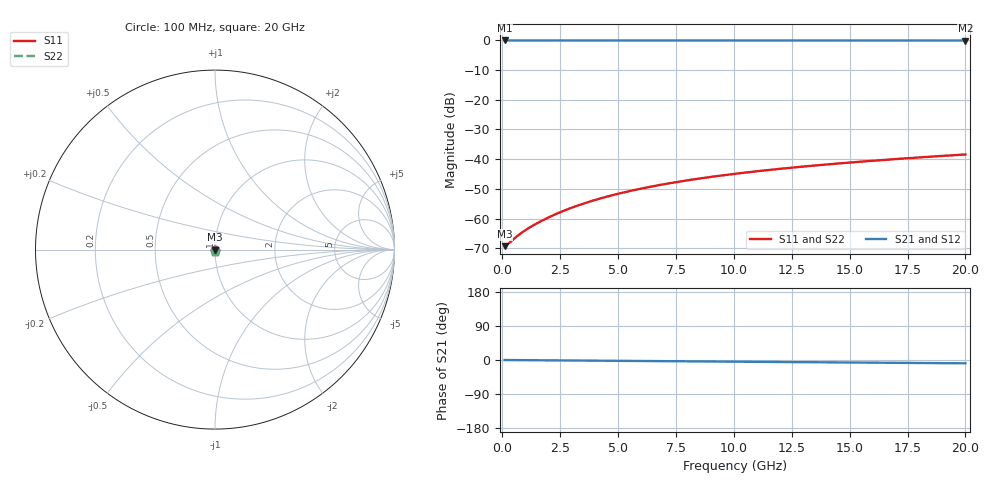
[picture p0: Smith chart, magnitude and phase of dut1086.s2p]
! Touchstone file exported from HFSS 2026.1.0
!  File:  C:/ffzhzh/LocalFiles/Ansys_Project_Files/temp_train_TSV_1086_1783190226_55132.aedt
!  Generated:  02:38:44 AM Jul  5, 2026
!  Design:  TSV
!  Project:  temp_train_TSV_1086_1783190226_55132
! Variables:
!  h_bsmrdl = 2um
!  h_ox = 20um
!  h_rdl = 5um
!  h_sub = 94.44um
!  h_tmrdl = 5um
!  h_tsv = 94.44um
!  h_via = 3um
!  l_bsmrdl = 300um
!  l_sub = 412.02um
!  l_tmrdl = 200um
!  m_sub = 200um
!  pitch = 22.81um
!  r_tsv = 6.01um
!  s_tmrdl = 10um
!  w_bsmrdl = 18um
!  w_sub = 500um
!  w_tmrdl = 12um
!  x_tsv_center1 = 206um
!  x_tsv_center2 = 524um
!  x_tsv_center3 = 736um
!  x_tsv_center4 = 1054um
!  x_tsv_center5 = 1266um
!  x_tsv_center6 = 1584um
# GHz S MA R 50.000000
! Terminal data exported
! Port[1] = TSV1_1_T1
! Port[2] = TSV1_1_T2
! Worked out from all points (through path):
!   200 points, 100 MHz to 20 GHz, reference 50 ohm
!   highest |S21| = 0.00 dB at 100 MHz (marker M1); lowest = 0.0 dB at 20 GHz (marker M2)
!   group delay of S21, straight-line fit = 1.21 ps
!   lowest |S11| = -69.3 dB at 100 MHz (marker M3), VSWR 1.00, Z = 50 + j0.000559 ohm
!   |S11| at or under -10 dB: start of sweep to end of sweep
!   |S22| runs from -69.3 to -38.4 dB; largest |S21 - S12| = 2e-15
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0.1  0.0003425 0.9  0.9997 -0.0  0.9997 -0.0  0.0003425 0.9
! Gamma 0 0 0 0
! Port Impedance 50 0 50 0
0.2  0.000361 1.0  0.9996 -0.1  0.9996 -0.1  0.000361 1.0
0.6  0.00049 -8.9  0.9995 -0.3  0.9995 -0.3  0.00049 -8.9
0.9  0.0005995 -19.5  0.9994 -0.4  0.9994 -0.4  0.0005995 -19.5
1.2  0.0007131 -28.6  0.9994 -0.5  0.9994 -0.5  0.0007131 -28.6
1.5  0.0008326 -35.8  0.9993 -0.7  0.9993 -0.7  0.0008326 -35.8
1.9  0.001002 -43.2  0.9993 -0.9  0.9993 -0.9  0.001002 -43.2
2.4  0.00123 -49.7  0.9992 -1.1  0.9992 -1.1  0.00123 -49.7
2.9  0.001473 -54.4  0.9991 -1.3  0.9991 -1.3  0.001473 -54.4
3.5  0.001782 -58.5  0.999 -1.6  0.999 -1.6  0.001782 -58.5
4.2  0.002161 -62.2  0.9989 -1.9  0.9989 -1.9  0.002161 -62.2
5  0.002613 -65.4  0.9988 -2.2  0.9988 -2.2  0.002613 -65.4
5.9  0.003139 -68.4  0.9987 -2.6  0.9987 -2.6  0.003139 -68.4
6.8  0.003677 -70.8  0.9986 -3.0  0.9986 -3.0  0.003677 -70.8
7.5  0.004102 -72.5  0.9985 -3.3  0.9985 -3.3  0.004102 -72.5
8.3  0.004591 -74.1  0.9985 -3.7  0.9985 -3.7  0.004591 -74.1
10.1  0.005702 -77.3  0.9983 -4.4  0.9983 -4.4  0.005702 -77.3
11.7  0.006698 -79.5  0.9982 -5.1  0.9982 -5.1  0.006698 -79.5
13.4  0.007764 -81.5  0.998 -5.9  0.998 -5.9  0.007764 -81.5
15  0.008775 -83.2  0.9979 -6.6  0.9979 -6.6  0.008775 -83.2
16.7  0.009859 -84.7  0.9978 -7.3  0.9978 -7.3  0.009859 -84.7
20  0.012 -87.3  0.9975 -8.7  0.9975 -8.7  0.012 -87.3
